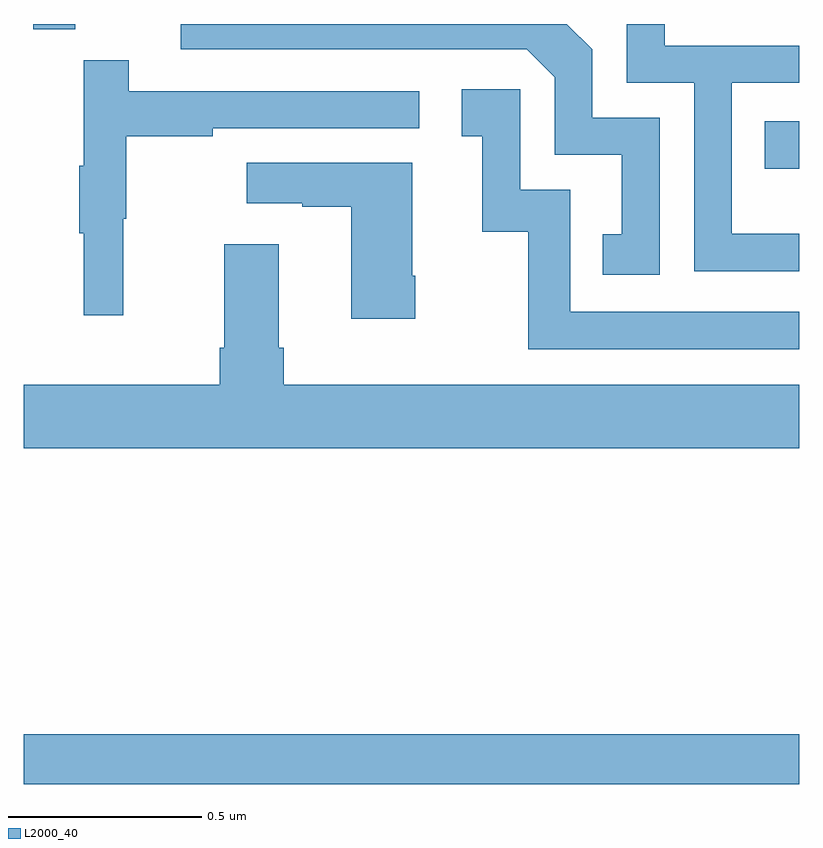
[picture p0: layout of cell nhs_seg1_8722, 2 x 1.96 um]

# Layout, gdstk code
import gdstk
lib = gdstk.Library(unit=1e-6, precision=1e-09)
def R(c, l, rs):  # rectangles x0, y0, x1, y1
    for r in rs: c.add(gdstk.rectangle(r[:2], r[2:], *l))
def P(c, l, *ps):  # polygons
    for p in ps: c.add(gdstk.Polygon(p, *l))
L2000_40 = (2000, 40)

nhs_seg1_8722 = lib.new_cell('nhs_seg1_8722')
R(nhs_seg1_8722, L2000_40, [(220,512.238,222,512.366), (221.911,513.825,222,513.948), (220.024,514.186,220.132,514.199)])
P(nhs_seg1_8722, L2000_40, [(222,513.658),(221.826,513.658),(221.826,514.047),(222,514.047),(222,514.143),(221.653,514.143),(221.653,514.199),(221.556,514.199),(221.556,514.047),(221.73,514.047),(221.73,513.561),(222,513.561)],
  [(221.64,513.957),(221.466,513.957),(221.466,514.134),(221.401,514.199),(220.404,514.199),(220.404,514.134),(221.298,514.134),(221.37,514.062),(221.37,513.861),(221.543,513.861),(221.543,513.657),(221.494,513.657),(221.494,513.552),(221.64,513.552)],
  [(220.256,513.696),(220.264,513.696),(220.264,513.91),(220.487,513.91),(220.487,513.93),(221.02,513.93),(221.02,514.026),(220.271,514.026),(220.271,514.105),(220.154,514.105),(220.154,513.833),(220.143,513.833),(220.143,513.659),(220.154,513.659),(220.154,513.447),(220.256,513.447)],
  [(222,513.456),(221.409,513.456),(221.409,513.771),(221.28,513.771),(221.28,514.03),(221.13,514.03),(221.13,513.909),(221.183,513.909),(221.183,513.663),(221.301,513.663),(221.301,513.36),(222,513.36)],
  [(221.01,513.55),(221.002,513.55),(221.002,513.841),(220.575,513.841),(220.575,513.737),(220.718,513.737),(220.718,513.727),(220.844,513.727),(220.844,513.438),(221.01,513.438)],
  [(222,513.268),(220.67,513.268),(220.67,513.364),(220.657,513.364),(220.657,513.631),(220.517,513.631),(220.517,513.364),(220.505,513.364),(220.505,513.268),(220,513.268),(220,513.104),(222,513.104)])

lib.write_gds('nhs_seg1_8722.gds')
